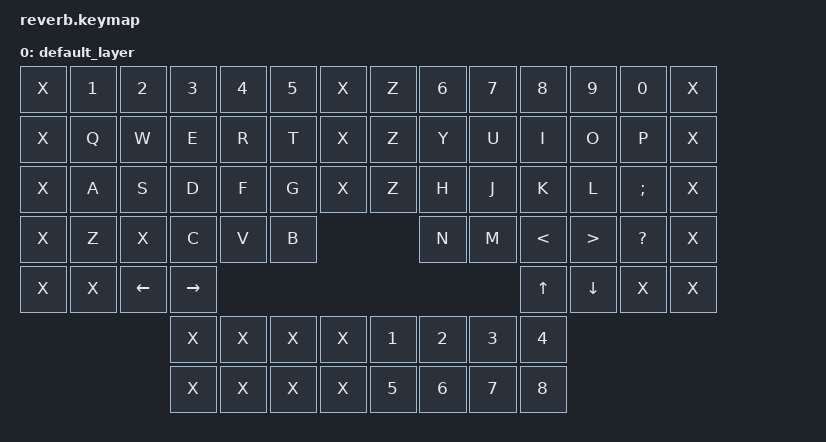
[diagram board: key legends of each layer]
// Copyright (c) 2024 Noah Boggs 
// SPDX-License-Identifier: MIT

#include <behaviors.dtsi>
#include <dt-bindings/zmk/keys.h>
#include <dt-bindings/zmk/bt.h>
#include <dt-bindings/zmk/outputs.h>
/ {
    keymap {
        compatible = "zmk,keymap";
        default_layer {
// --------------------------------------------------------------------------------------------------------------------
// |   X   |   1   |   2   |   3   |   4   |   5   |   X   |  |   X   |   6   |   7   |   8   |   9   |   0   |   X   |
// |   X   |   Q   |   W   |   E   |   R   |   T   |   X   |  |   X   |   Y   |   U   |   I   |   O   |   P   |   X   |
// |   X   |   A   |   S   |   D   |   F   |   G   |   X   |  |   X   |   H   |   J   |   K   |   L   |   ;   |   X   |           
// |   X   |   Z   |   X   |   C   |   V   |   B   |       |  |       |   N   |   M   |   <   |   >   |   ?   |   X   |
// |   X   |   X   | LEFT  | RIGHT |       |       |       |  |       |       |       |  UP   | DOWN  |   X   |   X   |
// |       |       |       |   X   |   X   |   X   |   X   |  |   X   |   X   |   X   |   X   |       |       |       |
// |       |       |       |   X   |   X   |   X   |   X   |  |   X   |   X   |   X   |   X   |       |       |       |
            bindings = <
&kp X   &kp N1   &kp N2   &kp N3    &kp N4   &kp N5  &kp X    &kp Z   &kp N6   &kp N7   &kp N8   &kp N9   &kp N0    &kp X
&kp X   &kp Q    &kp W    &kp E     &kp R    &kp T   &kp X    &kp Z   &kp Y    &kp U    &kp I    &kp O    &kp P     &kp X
&kp X   &kp A    &kp S    &kp D     &kp F    &kp G   &kp X    &kp Z   &kp H    &kp J    &kp K    &kp L    &kp SEMI  &kp X
&kp X   &kp Z    &kp X    &kp C     &kp V    &kp B                    &kp N    &kp M    &kp LT   &kp GT   &kp QMARK &kp X
&kp X   &kp X    &kp LEFT &kp RIGHT                                                     &kp UP   &kp DOWN &kp X     &kp X
                          &kp X     &kp X    &kp X   &kp X    &kp N1  &kp N2   &kp N3   &kp N4
                          &kp X     &kp X    &kp X   &kp X    &kp N5  &kp N6   &kp N7   &kp N8
            >;
        };
    };
};
